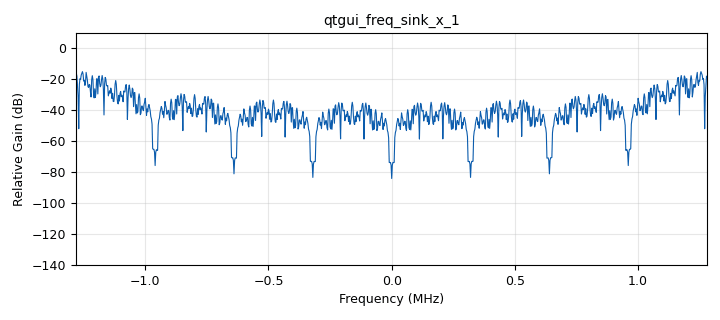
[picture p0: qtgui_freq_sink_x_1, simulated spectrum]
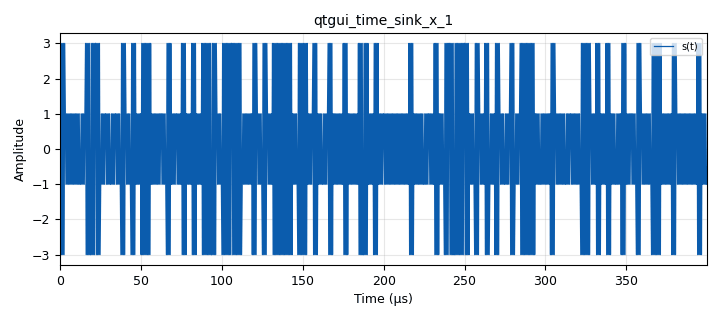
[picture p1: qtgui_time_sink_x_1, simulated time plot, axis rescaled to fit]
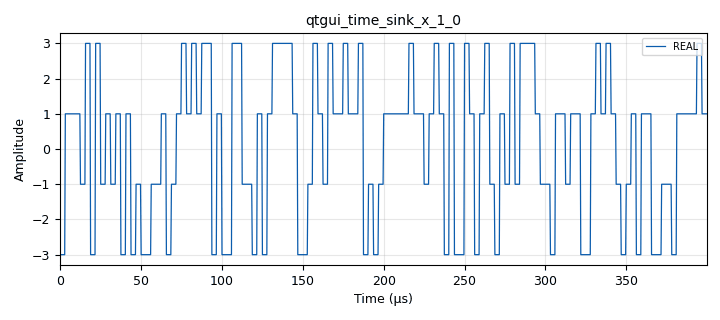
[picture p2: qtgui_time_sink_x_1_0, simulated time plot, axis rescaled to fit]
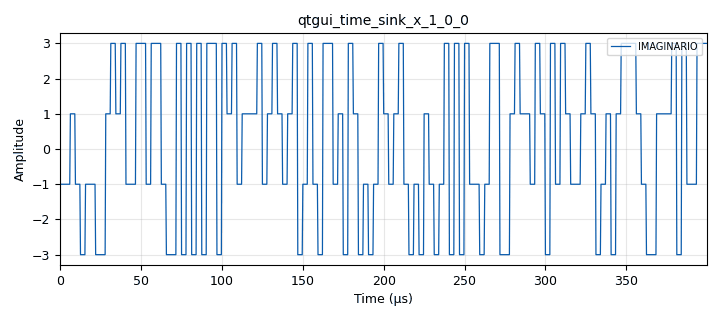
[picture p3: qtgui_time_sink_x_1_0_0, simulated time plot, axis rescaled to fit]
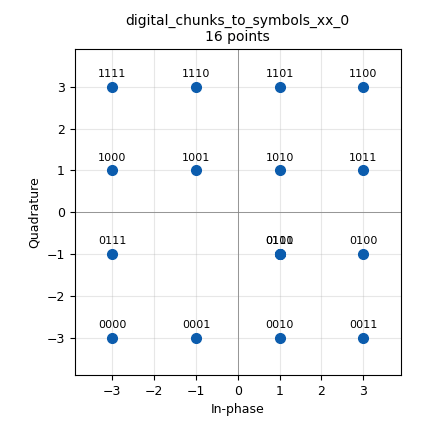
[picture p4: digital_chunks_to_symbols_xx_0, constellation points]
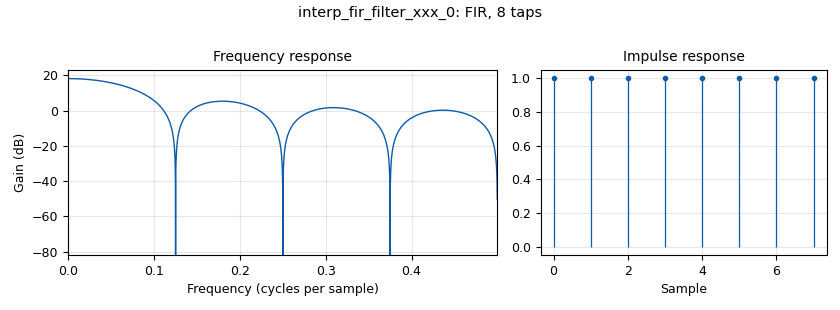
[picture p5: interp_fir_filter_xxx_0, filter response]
options:
  parameters:
    author: radiogis_director
    generate_options: qt_gui
    id: top_block
    output_language: python
    title: top_block
  states: {}

blocks:
- name: M
  id: variable
  parameters:
    value: len(tabla_de_verdad_constelacion )
  states: {}
- name: Rb
  id: variable
  parameters:
    value: Rs*bps
  states: {}
- name: Rs
  id: variable
  parameters:
    value: '32000'
  states: {}
- name: Sps
  id: variable
  parameters:
    value: '8'
  states: {}
- name: bps
  id: variable
  parameters:
    value: int(math.log(M,2))
  states: {}
- name: h
  id: variable
  parameters:
    value: '[1]*Sps'
  states: {}
- name: samp_rate
  id: variable
  parameters:
    value: Rs*Sps*10
  states: {}
- name: tabla_de_verdad_constelacion
  id: variable
  parameters:
    value: (-3-3j, -1-3j, 1-3j, 3-3j, 3-1j, 1-1j, --1-1j, -3-1j, -3+1j,-1+1j, 1+1j, 3+1j, 3+3j, 1+3j, -1+3j, -3+3j)
  states: {}
- name: analog_const_source_x_0
  id: analog_const_source_x
  parameters:
    const: '-1'
    type: float
  states: {}
- name: analog_noise_source_x_0
  id: analog_noise_source_x
  parameters:
    amp: '0.2'
    noise_type: analog.GR_GAUSSIAN
    seed: '0'
    type: complex
  states: {state: disabled}
- name: analog_random_source_x_0
  id: analog_random_source_x
  parameters:
    max: '256'
    min: '0'
    num_samps: '1000'
    repeat: 'True'
    type: byte
  states: {}
- name: analog_sig_source_x_0
  id: analog_sig_source_x
  parameters:
    amp: '1'
    freq: 10*Rb
    offset: '0'
    phase: '0'
    samp_rate: samp_rate
    type: float
    waveform: analog.GR_COS_WAVE
  states: {}
- name: analog_sig_source_x_0_0
  id: analog_sig_source_x
  parameters:
    amp: '1'
    freq: 10*Rb
    offset: '0'
    phase: '0'
    samp_rate: samp_rate
    type: float
    waveform: analog.GR_SIN_WAVE
  states: {}
- name: blocks_add_xx_0
  id: blocks_add_xx
  parameters:
    type: complex
  states: {state: disabled}
- name: blocks_add_xx_1
  id: blocks_add_xx
  parameters:
    type: float
  states: {}
- name: blocks_complex_to_imag_0
  id: blocks_complex_to_imag
  parameters: {}
  states: {}
- name: blocks_complex_to_real_0
  id: blocks_complex_to_real
  parameters: {}
  states: {}
- name: blocks_multiply_xx_0
  id: blocks_multiply_xx
  parameters:
    type: float
  states: {}
- name: blocks_multiply_xx_1
  id: blocks_multiply_xx
  parameters:
    type: float
  states: {}
- name: blocks_multiply_xx_2
  id: blocks_multiply_xx
  parameters:
    type: float
  states: {}
- name: blocks_pack_k_bits_bb_0
  id: blocks_pack_k_bits_bb
  parameters:
    k: '8'
  states: {}
- name: blocks_packed_to_unpacked_xx_0
  id: blocks_packed_to_unpacked_xx
  parameters:
    bits_per_chunk: bps
    endianness: gr.GR_MSB_FIRST
    type: byte
  states: {}
- name: digital_chunks_to_symbols_xx_0
  id: digital_chunks_to_symbols_xx
  parameters:
    dimension: '1'
    in_type: byte
    out_type: complex
    symbol_table: tabla_de_verdad_constelacion
  states: {}
- name: import_0
  id: import
  parameters:
    imports: import math
  states: {}
- name: interp_fir_filter_xxx_0
  id: interp_fir_filter_xxx
  parameters:
    interp: Sps
    taps: h
    type: ccf
  states: {}
- name: qtgui_const_sink_x_0
  id: qtgui_const_sink_x
  parameters:
    autoscale: 'True'
    size: '1024'
    type: complex
  states: {state: disabled}
- name: qtgui_freq_sink_x_0
  id: qtgui_freq_sink_x
  parameters:
    autoscale: 'True'
    average: '0.05'
    bw: samp_rate
    fc: '0'
    fftsize: '4096'
    type: complex
  states: {state: disabled}
- name: qtgui_freq_sink_x_1
  id: qtgui_freq_sink_x
  parameters:
    bw: samp_rate
    fc: '0'
    fftsize: '1024'
    type: float
  states: {}
- name: qtgui_time_sink_x_0
  id: qtgui_time_sink_x
  parameters:
    size: '1024'
    srate: samp_rate
    type: complex
  states: {state: disabled}
- name: qtgui_time_sink_x_1
  id: qtgui_time_sink_x
  parameters:
    label1: s(t)
    size: '1024'
    srate: samp_rate
    type: float
  states: {}
- name: qtgui_time_sink_x_1_0
  id: qtgui_time_sink_x
  parameters:
    label1: REAL
    size: '1024'
    srate: samp_rate
    type: float
  states: {}
- name: qtgui_time_sink_x_1_0_0
  id: qtgui_time_sink_x
  parameters:
    label1: IMAGINARIO
    size: '1024'
    srate: samp_rate
    type: float
  states: {}
- name: virtual_sink_0
  id: virtual_sink
  parameters:
    stream_id: p1
  states: {state: disabled}
- name: virtual_sink_0_0
  id: virtual_sink
  parameters:
    stream_id: p0
  states: {state: disabled}
- name: virtual_source_0
  id: virtual_source
  parameters:
    stream_id: p1
  states: {state: disabled}
- name: virtual_source_0_0
  id: virtual_source
  parameters:
    stream_id: p0
  states: {state: disabled}

connections:
- [analog_const_source_x_0, '0', blocks_multiply_xx_2, '1']
- [analog_noise_source_x_0, '0', blocks_add_xx_0, '0']
- [analog_random_source_x_0, '0', blocks_pack_k_bits_bb_0, '0']
- [analog_sig_source_x_0, '0', blocks_multiply_xx_0, '1']
- [analog_sig_source_x_0_0, '0', blocks_multiply_xx_1, '0']
- [blocks_add_xx_0, '0', virtual_sink_0, '0']
- [blocks_add_xx_1, '0', qtgui_freq_sink_x_1, '0']
- [blocks_add_xx_1, '0', qtgui_time_sink_x_1, '0']
- [blocks_complex_to_imag_0, '0', blocks_multiply_xx_1, '1']
- [blocks_complex_to_imag_0, '0', qtgui_time_sink_x_1_0_0, '0']
- [blocks_complex_to_real_0, '0', blocks_multiply_xx_0, '0']
- [blocks_complex_to_real_0, '0', qtgui_time_sink_x_1_0, '0']
- [blocks_multiply_xx_0, '0', blocks_add_xx_1, '0']
- [blocks_multiply_xx_1, '0', blocks_multiply_xx_2, '0']
- [blocks_multiply_xx_2, '0', blocks_add_xx_1, '1']
- [blocks_pack_k_bits_bb_0, '0', blocks_packed_to_unpacked_xx_0, '0']
- [blocks_packed_to_unpacked_xx_0, '0', digital_chunks_to_symbols_xx_0, '0']
- [digital_chunks_to_symbols_xx_0, '0', interp_fir_filter_xxx_0, '0']
- [interp_fir_filter_xxx_0, '0', blocks_complex_to_imag_0, '0']
- [interp_fir_filter_xxx_0, '0', blocks_complex_to_real_0, '0']
- [interp_fir_filter_xxx_0, '0', virtual_sink_0_0, '0']
- [virtual_source_0, '0', qtgui_const_sink_x_0, '0']
- [virtual_source_0, '0', qtgui_time_sink_x_0, '0']
- [virtual_source_0_0, '0', qtgui_freq_sink_x_0, '0']

metadata:
  file_format: 1
  grc_version: v3.10.11.0-89-ga17f69e7
